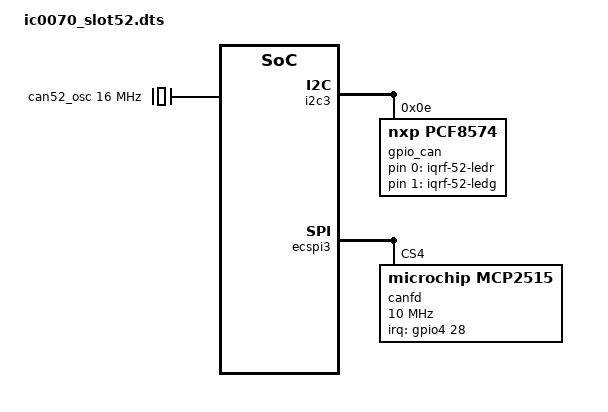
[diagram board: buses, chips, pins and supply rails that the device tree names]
/dts-v1/;


/plugin/;

/ {
	fragment@0 {
		target = <&i2c3>;
		__overlay__ {
			#address-cells = <1>;
			#size-cells = <0>;
			gpio_can: pca9501@14 {
				compatible = "nxp,pcf8574";
				gpio-controller;
				#gpio-cells = <2>;
				reg = <14>;
				gpio-line-names = "SLOT52_IQRF_BTN",
					"SLOT52_CANFD_LED0",
					"SLOT52_CANFD_LED1",
					"SLOT52_CANFD_RESET_N";
			};
		};
	};

	fragment@1 {
		target = <&ecspi3>;
		__overlay__ {
			status = "okay";
			#address-cells = <1>;
			#size-cells = <0>;

			canfd: spi@4 {
				compatible = "microchip,mcp2515";
				reg = <4>;
				status = "okay";
				spi-max-frequency = <10000000>;
				clocks = <&can52_osc>;
				pinctrl-names = "default";
				pinctrl-0 = <&pinctrl_slotirq3>;
				interrupt-parent = <&gpio4>;
				interrupts = <28 0>;
			};
		};
	};

	fragment@4 {
		target-path = "/";
		__overlay__ {
			led_slot52 {
				compatible = "gpio-leds";
				iqrf-led@1 {
					label = "iqrf-52-ledr";
					gpios = <&gpio_can 0 0>;
					default-state = "off";
					color = <1>;
				};
				iqrf-led@2 {
					label = "iqrf-52-ledg";
					gpios = <&gpio_can 1 0>;
					default-state = "off";
					color = <2>;
				};
			};
		}; 
	};

   fragment@5 {
       target-path = "/";
       __overlay__ {
           /* external oscillator of mcp2515 */
           can52_osc: can52_osc {
               compatible = "fixed-clock";
               #clock-cells = <0>;
               clock-frequency  = <16000000>;
           };
       };
   };

};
